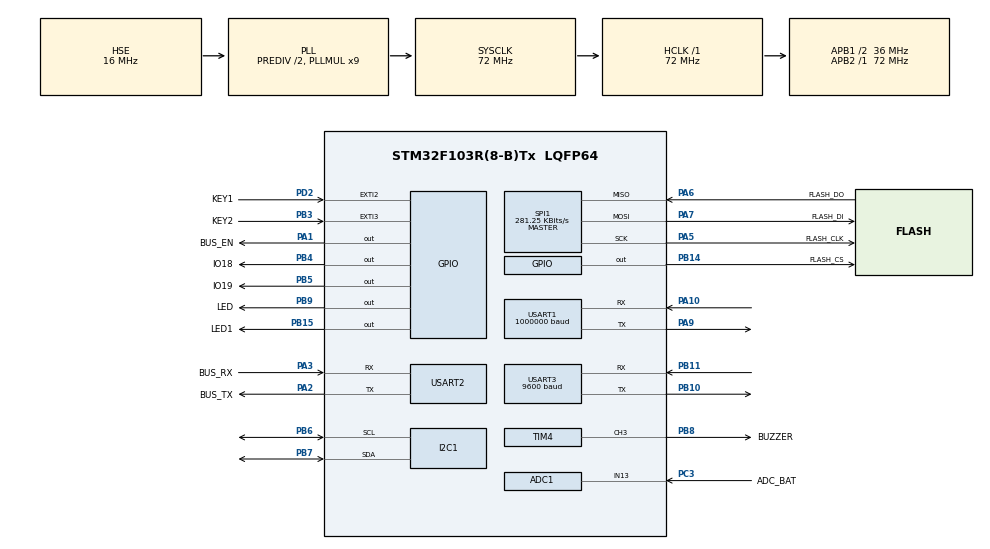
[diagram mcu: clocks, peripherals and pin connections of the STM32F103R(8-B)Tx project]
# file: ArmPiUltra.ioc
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ADC1.Channel-0\#ChannelRegularConversion=ADC_CHANNEL_13
ADC1.Channel-1\#ChannelRegularConversion=ADC_CHANNEL_VREFINT
ADC1.ContinuousConvMode=DISABLE
ADC1.NbrOfConversion=2
ADC1.NbrOfConversionFlag=1
ADC1.Rank-0\#ChannelRegularConversion=1
ADC1.Rank-1\#ChannelRegularConversion=2
ADC1.SamplingTime-0\#ChannelRegularConversion=ADC_SAMPLETIME_41CYCLES_5
ADC1.SamplingTime-1\#ChannelRegularConversion=ADC_SAMPLETIME_239CYCLES_5
ADC1.master=1
Dma.ADC1.2.Direction=DMA_PERIPH_TO_MEMORY
Dma.ADC1.2.Instance=DMA1_Channel1
Dma.ADC1.2.MemDataAlignment=DMA_MDATAALIGN_HALFWORD
Dma.ADC1.2.MemInc=DMA_MINC_ENABLE
Dma.ADC1.2.Mode=DMA_CIRCULAR
Dma.ADC1.2.PeriphDataAlignment=DMA_PDATAALIGN_HALFWORD
Dma.ADC1.2.PeriphInc=DMA_PINC_DISABLE
Dma.ADC1.2.Priority=DMA_PRIORITY_LOW
Dma.I2C1_RX.3.Direction=DMA_PERIPH_TO_MEMORY
Dma.I2C1_RX.3.Instance=DMA1_Channel7
Dma.I2C1_RX.3.MemDataAlignment=DMA_MDATAALIGN_BYTE
Dma.I2C1_RX.3.MemInc=DMA_MINC_ENABLE
Dma.I2C1_RX.3.Mode=DMA_NORMAL
Dma.I2C1_RX.3.PeriphDataAlignment=DMA_PDATAALIGN_BYTE
Dma.I2C1_RX.3.PeriphInc=DMA_PINC_DISABLE
Dma.I2C1_RX.3.Priority=DMA_PRIORITY_LOW
Dma.Request0=USART1_RX
Dma.Request1=USART3_RX
Dma.Request2=ADC1
Dma.Request3=I2C1_RX
Dma.Request4=USART1_TX
Dma.USART1_RX.0.Direction=DMA_PERIPH_TO_MEMORY
Dma.USART1_RX.0.Instance=DMA1_Channel5
Dma.USART1_RX.0.MemDataAlignment=DMA_MDATAALIGN_BYTE
Dma.USART1_RX.0.MemInc=DMA_MINC_ENABLE
Dma.USART1_RX.0.Mode=DMA_NORMAL
Dma.USART1_RX.0.PeriphDataAlignment=DMA_PDATAALIGN_BYTE
Dma.USART1_RX.0.PeriphInc=DMA_PINC_DISABLE
Dma.USART1_RX.0.Priority=DMA_PRIORITY_LOW
Dma.USART1_TX.4.Direction=DMA_MEMORY_TO_PERIPH
Dma.USART1_TX.4.Instance=DMA1_Channel4
Dma.USART1_TX.4.MemDataAlignment=DMA_MDATAALIGN_BYTE
Dma.USART1_TX.4.MemInc=DMA_MINC_ENABLE
Dma.USART1_TX.4.Mode=DMA_NORMAL
Dma.USART1_TX.4.PeriphDataAlignment=DMA_PDATAALIGN_BYTE
Dma.USART1_TX.4.PeriphInc=DMA_PINC_DISABLE
Dma.USART1_TX.4.Priority=DMA_PRIORITY_LOW
Dma.USART3_RX.1.Direction=DMA_PERIPH_TO_MEMORY
Dma.USART3_RX.1.Instance=DMA1_Channel3
Dma.USART3_RX.1.MemDataAlignment=DMA_MDATAALIGN_BYTE
Dma.USART3_RX.1.MemInc=DMA_MINC_ENABLE
Dma.USART3_RX.1.Mode=DMA_NORMAL
Dma.USART3_RX.1.PeriphDataAlignment=DMA_PDATAALIGN_BYTE
Dma.USART3_RX.1.PeriphInc=DMA_PINC_DISABLE
Dma.USART3_RX.1.Priority=DMA_PRIORITY_LOW
Mcu.Family=STM32F1
Mcu.Name=STM32F103R(8-B)Tx
Mcu.Package=LQFP64
NVIC.DMA1_Channel1_IRQn=true\:0\:0\:false\:false\:true\:false\:true\:true
NVIC.DMA1_Channel3_IRQn=true\:0\:0\:false\:false\:true\:false\:true\:true
NVIC.DMA1_Channel4_IRQn=true\:0\:0\:false\:false\:true\:false\:true\:true
NVIC.DMA1_Channel5_IRQn=true\:0\:0\:false\:false\:true\:false\:true\:true
NVIC.DMA1_Channel7_IRQn=true\:0\:0\:false\:false\:true\:false\:true\:true
NVIC.EXTI2_IRQn=true\:1\:0\:true\:false\:true\:true\:true\:true
NVIC.EXTI3_IRQn=true\:1\:0\:true\:false\:true\:true\:true\:true
NVIC.PriorityGroup=NVIC_PRIORITYGROUP_4
NVIC.USART1_IRQn=true\:5\:0\:true\:false\:true\:false\:true\:true
NVIC.USART2_IRQn=true\:5\:0\:true\:false\:true\:true\:true\:true
NVIC.USART3_IRQn=true\:5\:0\:true\:false\:true\:true\:true\:true
PA1.GPIO_Label=BUS_EN
PA1.GPIO_Speed=GPIO_SPEED_FREQ_HIGH
PA1.PinState=GPIO_PIN_SET
PA1.Signal=GPIO_Output
PA10.Mode=Asynchronous
PA10.Signal=USART1_RX
PA13.Mode=Serial_Wire
PA13.Signal=SYS_JTMS-SWDIO
PA14.Mode=Serial_Wire
PA14.Signal=SYS_JTCK-SWCLK
PA2.GPIO_Label=BUS_TX
PA2.Mode=Asynchronous
PA2.Signal=USART2_TX
PA3.GPIO_Label=BUS_RX
PA3.Mode=Asynchronous
PA3.Signal=USART2_RX
PA5.GPIO_Label=FLASH_CLK
PA5.Mode=Full_Duplex_Master
PA5.Signal=SPI1_SCK
PA6.GPIO_Label=FLASH_DO
PA6.Mode=Full_Duplex_Master
PA6.Signal=SPI1_MISO
PA7.GPIO_Label=FLASH_DI
PA7.Mode=Full_Duplex_Master
PA7.Signal=SPI1_MOSI
PA9.Mode=Asynchronous
PA9.Signal=USART1_TX
PB10.Mode=Asynchronous
PB10.Signal=USART3_TX
PB11.Mode=Asynchronous
PB11.Signal=USART3_RX
PB14.GPIO_Label=FLASH_CS
PB14.PinState=GPIO_PIN_SET
PB14.Signal=GPIO_Output
PB15.GPIO_Label=LED1
PB15.PinState=GPIO_PIN_SET
PB15.Signal=GPIO_Output
PB3.GPIO_Label=KEY2
PB3.Signal=GPXTI3
PB4.GPIO_Label=IO18
PB4.Signal=GPIO_Output
PB5.GPIO_Label=IO19
PB5.Signal=GPIO_Output
PB6.Mode=I2C
PB6.Signal=I2C1_SCL
PB7.Mode=I2C
PB7.Signal=I2C1_SDA
PB8.GPIO_Label=BUZZER
PB8.Signal=S_TIM4_CH3
PB9.GPIO_Label=LED
PB9.GPIO_PuPd=GPIO_PULLUP
PB9.GPIO_Speed=GPIO_SPEED_FREQ_LOW
PB9.PinState=GPIO_PIN_SET
PB9.Signal=GPIO_Output
PC3.GPIO_Label=ADC_BAT
PC3.Signal=ADCx_IN13
PD0-OSC_IN.Mode=HSE-External-Oscillator
PD0-OSC_IN.Signal=RCC_OSC_IN
PD1-OSC_OUT.Mode=HSE-External-Oscillator
PD1-OSC_OUT.Signal=RCC_OSC_OUT
PD2.GPIO_Label=KEY1
PD2.GPIO_PuPd=GPIO_PULLDOWN
PD2.Signal=GPXTI2
ProjectManager.HeapSize=0x200
ProjectManager.StackSize=0x800
ProjectManager.TargetToolchain=MDK-ARM V5.32
RCC.ADCPresc=RCC_ADCPCLK2_DIV6
RCC.AHBFreq_Value=72000000
RCC.APB1CLKDivider=RCC_HCLK_DIV2
RCC.APB1Freq_Value=36000000
RCC.APB1TimFreq_Value=72000000
RCC.APB2Freq_Value=72000000
RCC.APB2TimFreq_Value=72000000
RCC.HCLKFreq_Value=72000000
RCC.HSEDivPLL=RCC_HSE_PREDIV_DIV2
RCC.HSE_VALUE=16000000
RCC.PLLMUL=RCC_PLL_MUL9
RCC.PLLSourceVirtual=RCC_PLLSOURCE_HSE
RCC.SYSCLKFreq_VALUE=72000000
RCC.SYSCLKSource=RCC_SYSCLKSOURCE_PLLCLK
RCC.USBFreq_Value=72000000
SH.ADCx_IN13.0=ADC1_IN13,IN13
SH.S_TIM4_CH3.0=TIM4_CH3,PWM Generation3 CH3
SPI1.BaudRatePrescaler=SPI_BAUDRATEPRESCALER_256
SPI1.CalculateBaudRate=281.25 KBits/s
SPI1.Direction=SPI_DIRECTION_2LINES
SPI1.Mode=SPI_MODE_MASTER
SPI1.VirtualType=VM_MASTER
TIM4.AutoReloadPreload=TIM_AUTORELOAD_PRELOAD_ENABLE
TIM4.Channel-PWM\ Generation3\ CH3=TIM_CHANNEL_3
TIM4.Period=4999
TIM4.Prescaler=71
USART1.BaudRate=1000000
USART1.VirtualMode=VM_ASYNC
USART2.VirtualMode=VM_ASYNC
USART3.BaudRate=9600
USART3.VirtualMode=VM_ASYNC
VP_ADC1_Vref_Input.Mode=IN-Vrefint
VP_CRC_VS_CRC.Mode=CRC_Activate
board=custom

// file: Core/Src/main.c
/* USER CODE BEGIN Header */
/**
  ******************************************************************************
  * @file           : main.c
  * @brief          : Main program body
  ******************************************************************************
  * @attention
  *
  * Copyright (c) 2025 STMicroelectronics.
  * All rights reserved.
  *
  * This software is licensed under terms that can be found in the LICENSE file
  * in the root directory of this software component.
  * If no LICENSE file comes with this software, it is provided AS-IS.
  *
  ******************************************************************************
  */
/* USER CODE END Header */
#include "main.h"
#include "adc.h"
#include "crc.h"
#include "dma.h"
#include "i2c.h"
#include "spi.h"
#include "tim.h"
#include "usart.h"
#include "gpio.h"

/* USER CODE BEGIN Includes */
#include "global.h"
#include "stdio.h"
#include "stdlib.h"
#include "led.h"
#include "serial_servo.h"
#include "key.h"
#include "packet.h"
/* USER CODE END Includes */

void SystemClock_Config(void);
/* USER CODE BEGIN PFP */
int16_t current_position = 0;
volatile uint32_t sys_count = 0;
extern SerialServoControllerTypeDef serial_servo_controller;

/* USER CODE END PFP */

int main(void)
{

  /* MCU Configuration--------------------------------------------------------*/

  /* Reset of all peripherals, Initializes the Flash interface and the Systick. */
  HAL_Init();

  /* Configure the system clock */
  SystemClock_Config();

  /* Initialize all configured peripherals */
  MX_GPIO_Init();
  MX_DMA_Init();
  MX_ADC1_Init();
  MX_I2C1_Init();
  MX_SPI1_Init();
  MX_TIM4_Init();
  MX_USART1_UART_Init();
  MX_USART2_UART_Init();
  MX_USART3_UART_Init();
  MX_CRC_Init();

  /* USER CODE BEGIN 2 */
	leds_init();
	buzzers_init();
	serial_servo_init();
	buttons_init();
	robot_arm_reset(1500);

	robot_arm_init();
	battery_handle_init();
	packet_init();
  packet_handle_init();
  start_recv();
  /* USER CODE END 2 */

  /* Infinite loop */
  while (1)
  {

		leds_task_poll();
		battery_check();
		buzzers[0].refresh(&buzzers[0]);
		recv_task();

  }
  /* USER CODE END 3 */
}

void SystemClock_Config(void)
{
  RCC_OscInitTypeDef RCC_OscInitStruct = {0};
  RCC_ClkInitTypeDef RCC_ClkInitStruct = {0};
  RCC_PeriphCLKInitTypeDef PeriphClkInit = {0};

  /** Initializes the RCC Oscillators according to the specified parameters
  * in the RCC_OscInitTypeDef structure.
  */
  RCC_OscInitStruct.OscillatorType = RCC_OSCILLATORTYPE_HSE;
  RCC_OscInitStruct.HSEState = RCC_HSE_ON;
  RCC_OscInitStruct.HSEPredivValue = RCC_HSE_PREDIV_DIV2;
  RCC_OscInitStruct.HSIState = RCC_HSI_ON;
  RCC_OscInitStruct.PLL.PLLState = RCC_PLL_ON;
  RCC_OscInitStruct.PLL.PLLSource = RCC_PLLSOURCE_HSE;
  RCC_OscInitStruct.PLL.PLLMUL = RCC_PLL_MUL9;
  if (HAL_RCC_OscConfig(&RCC_OscInitStruct) != HAL_OK)
  {
    Error_Handler();
  }

  /** Initializes the CPU, AHB and APB buses clocks
  */
  RCC_ClkInitStruct.ClockType = RCC_CLOCKTYPE_HCLK|RCC_CLOCKTYPE_SYSCLK
                              |RCC_CLOCKTYPE_PCLK1|RCC_CLOCKTYPE_PCLK2;
  RCC_ClkInitStruct.SYSCLKSource = RCC_SYSCLKSOURCE_PLLCLK;
  RCC_ClkInitStruct.AHBCLKDivider = RCC_SYSCLK_DIV1;
  RCC_ClkInitStruct.APB1CLKDivider = RCC_HCLK_DIV2;
  RCC_ClkInitStruct.APB2CLKDivider = RCC_HCLK_DIV1;

  if (HAL_RCC_ClockConfig(&RCC_ClkInitStruct, FLASH_LATENCY_2) != HAL_OK)
  {
    Error_Handler();
  }
  PeriphClkInit.PeriphClockSelection = RCC_PERIPHCLK_ADC;
  PeriphClkInit.AdcClockSelection = RCC_ADCPCLK2_DIV6;
  if (HAL_RCCEx_PeriphCLKConfig(&PeriphClkInit) != HAL_OK)
  {
    Error_Handler();
  }
}

/* USER CODE BEGIN 4 */
//void HAL_UART_TxCpltCallback(UART_HandleTypeDef *huart)
//{
//    if (huart->Instance == USART1)
//    {
//        // 清除发送忙标志
//        packet_controller.sending = false;

//        // 如果发送缓冲区还有数据，立即触发下一次发送
//        if (lwrb_get_full(packet_controller.tx_fifo) > 0) {
//            packet_controller.transmit_trigger(&packet_controller);
//        }
//    }
//}
/* USER CODE END 4 */

void Error_Handler(void)
{
  __disable_irq();
  while (1)
  {
  }
}
